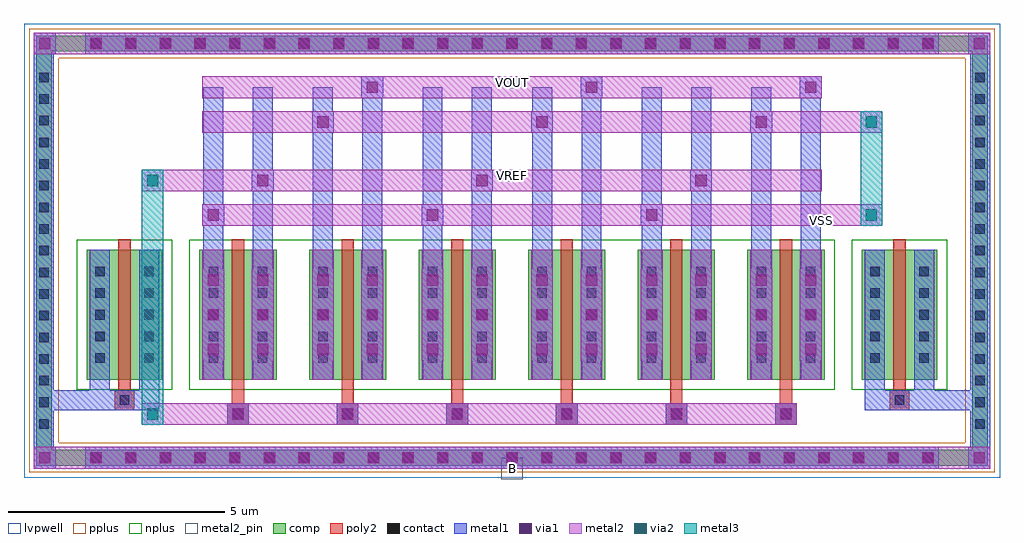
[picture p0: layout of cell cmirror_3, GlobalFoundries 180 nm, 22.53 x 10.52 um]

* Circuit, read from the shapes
.subckt cmirror_3 B VOUT VREF VSS
XM1 B B B B nfet_03v3 w=3u l=0.28u m=2
XM2 VREF VREF VSS B nfet_03v3 w=3u l=0.28u m=3
XM3 VOUT VREF VSS B nfet_03v3 w=3u l=0.28u m=3
.ends

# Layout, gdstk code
import gdstk
lib = gdstk.Library(unit=1e-6, precision=5e-09)
def R(c, l, rs):  # rectangles x0, y0, x1, y1
    for r in rs: c.add(gdstk.rectangle(r[:2], r[2:], *l))
def A(c, l, x, y, w, h, nx, ny, dx, dy):  # array of equal rectangles
    R(c, l, [(x+i*dx, y+j*dy, x+i*dx+w, y+j*dy+h) for i in range(nx) for j in range(ny)])
def P(c, l, *ps):  # polygons
    for p in ps: c.add(gdstk.Polygon(p, *l))
comp = (22, 0)
poly2 = (30, 0)
pplus = (31, 0)
nplus = (32, 0)
contact = (33, 0)
metal1 = (34, 0)
via1 = (35, 0)
metal2 = (36, 0)
metal2_pin = (36, 10)
via2 = (38, 0)
metal3 = (42, 0)
lvpwell = (204, 0)

cmirror_3 = lib.new_cell('cmirror_3')
A(cmirror_3, comp, -9.78, -4.96, 0.36, 0.36, 25, 2, 0.8, 9.56)
A(cmirror_3, comp, -10.985, -4.18, 0.36, 0.36, 1, 17, 0, 0.5)
A(cmirror_3, comp, 10.625, -4.18, 0.36, 0.36, 1, 17, 0, 0.5)
A(cmirror_3, comp, -7.215, -2.98, 1.78, 3, 6, 1, 2.53, 0)
R(cmirror_3, comp, [(-9.78,-4.96,9.78,-4.6), (-10.985,-4.18,-10.625,4.18), (10.625,-4.18,10.985,4.18), (-9.815,-2.98,-8.075,0.02), (8.075,-2.98,9.815,0.02), (-9.78,4.6,9.78,4.96)])
P(cmirror_3, comp, [(10.985,4.96),(-10.985,4.96),(-10.985,-4.6),(-10.625,-4.6),(-10.625,4.6),(10.625,4.6),(10.625,-4.6),(-10.625,-4.6),(-10.985,-4.6),(-10.985,-4.96),(10.985,-4.96)])
A(cmirror_3, poly2, -6.575, -4.02, 0.5, 0.5, 6, 1, 2.53, 0)
A(cmirror_3, poly2, -6.505, -3.95, 0.36, 0.36, 6, 1, 2.53, 0)
A(cmirror_3, poly2, -6.465, -3.52, 0.28, 0.3, 6, 1, 2.53, 0)
A(cmirror_3, poly2, -6.465, -3.22, 0.28, 3.48, 6, 1, 2.53, 0)
R(cmirror_3, poly2, [(-9.175,-3.68,-8.715,-3.22), (8.715,-3.68,9.175,-3.22), (-9.125,-3.63,-8.765,-3.27), (8.765,-3.63,9.125,-3.27), (-9.085,-3.22,-8.805,0.26), (8.805,-3.22,9.085,0.26)])
P(cmirror_3, pplus, [(11.145,5.12),(-11.145,5.12),(-11.145,-4.44),(-10.465,-4.44),(-10.465,4.44),(10.465,4.44),(10.465,-4.44),(-10.465,-4.44),(-11.145,-4.44),(-11.145,-5.12),(11.145,-5.12)])
A(cmirror_3, nplus, -7.445, -3.21, 2.24, 3.46, 6, 1, 2.53, 0)
R(cmirror_3, nplus, [(-10.045,-3.21,-7.845,0.25), (-7.445,-3.21,7.445,0.25), (7.845,-3.21,10.045,0.25)])
A(cmirror_3, contact, -9.71, -4.89, 0.22, 0.22, 25, 2, 0.8, 9.56)
A(cmirror_3, contact, -10.915, -4.11, 0.22, 0.22, 1, 17, 0, 0.5)
A(cmirror_3, contact, 10.695, -4.11, 0.22, 0.22, 1, 17, 0, 0.5)
A(cmirror_3, contact, -6.435, -3.88, 0.22, 0.22, 6, 1, 2.53, 0)
A(cmirror_3, contact, -9.625, -2.59, 0.22, 0.22, 1, 5, 0, 0.5)
A(cmirror_3, contact, -8.485, -2.59, 0.22, 0.22, 1, 5, 0, 0.5)
A(cmirror_3, contact, -7.005, -2.59, 0.22, 0.22, 1, 5, 0, 0.5)
A(cmirror_3, contact, -5.865, -2.59, 0.22, 0.22, 1, 5, 0, 0.5)
A(cmirror_3, contact, -4.475, -2.59, 0.22, 0.22, 1, 5, 0, 0.5)
A(cmirror_3, contact, -3.335, -2.59, 0.22, 0.22, 1, 5, 0, 0.5)
A(cmirror_3, contact, -1.945, -2.59, 0.22, 0.22, 1, 5, 0, 0.5)
A(cmirror_3, contact, -0.805, -2.59, 0.22, 0.22, 1, 5, 0, 0.5)
A(cmirror_3, contact, 0.585, -2.59, 0.22, 0.22, 1, 5, 0, 0.5)
A(cmirror_3, contact, 1.725, -2.59, 0.22, 0.22, 1, 5, 0, 0.5)
A(cmirror_3, contact, 3.115, -2.59, 0.22, 0.22, 1, 5, 0, 0.5)
A(cmirror_3, contact, 4.255, -2.59, 0.22, 0.22, 1, 5, 0, 0.5)
A(cmirror_3, contact, 5.645, -2.59, 0.22, 0.22, 1, 5, 0, 0.5)
A(cmirror_3, contact, 6.785, -2.59, 0.22, 0.22, 1, 5, 0, 0.5)
A(cmirror_3, contact, 8.265, -2.59, 0.22, 0.22, 1, 5, 0, 0.5)
A(cmirror_3, contact, 9.405, -2.59, 0.22, 0.22, 1, 5, 0, 0.5)
R(cmirror_3, contact, [(-9.055,-3.56,-8.835,-3.34), (8.835,-3.56,9.055,-3.34)])
A(cmirror_3, metal1, -9.85, -5.03, 0.5, 0.5, 25, 2, 0.8, 9.56)
A(cmirror_3, metal1, -11.035, -4.23, 0.46, 0.46, 1, 17, 0, 0.5)
A(cmirror_3, metal1, 10.575, -4.23, 0.46, 0.46, 1, 17, 0, 0.5)
A(cmirror_3, metal1, -6.575, -4.02, 0.5, 0.5, 6, 1, 2.53, 0)
A(cmirror_3, metal1, -9.745, -2.71, 0.46, 0.46, 1, 5, 0, 0.5)
A(cmirror_3, metal1, -8.605, -2.71, 0.46, 0.46, 1, 5, 0, 0.5)
A(cmirror_3, metal1, -7.125, -2.71, 0.46, 0.46, 1, 5, 0, 0.5)
A(cmirror_3, metal1, -5.985, -2.71, 0.46, 0.46, 1, 5, 0, 0.5)
A(cmirror_3, metal1, -4.595, -2.71, 0.46, 0.46, 1, 5, 0, 0.5)
A(cmirror_3, metal1, -3.455, -2.71, 0.46, 0.46, 1, 5, 0, 0.5)
A(cmirror_3, metal1, -2.065, -2.71, 0.46, 0.46, 1, 5, 0, 0.5)
A(cmirror_3, metal1, -0.925, -2.71, 0.46, 0.46, 1, 5, 0, 0.5)
A(cmirror_3, metal1, 0.465, -2.71, 0.46, 0.46, 1, 5, 0, 0.5)
A(cmirror_3, metal1, 1.605, -2.71, 0.46, 0.46, 1, 5, 0, 0.5)
A(cmirror_3, metal1, 2.995, -2.71, 0.46, 0.46, 1, 5, 0, 0.5)
A(cmirror_3, metal1, 4.135, -2.71, 0.46, 0.46, 1, 5, 0, 0.5)
A(cmirror_3, metal1, 5.525, -2.71, 0.46, 0.46, 1, 5, 0, 0.5)
A(cmirror_3, metal1, 6.665, -2.71, 0.46, 0.46, 1, 5, 0, 0.5)
A(cmirror_3, metal1, 8.145, -2.71, 0.46, 0.46, 1, 5, 0, 0.5)
A(cmirror_3, metal1, 9.285, -2.71, 0.46, 0.46, 1, 5, 0, 0.5)
A(cmirror_3, metal1, -7.145, -2.53, 0.5, 0.5, 1, 3, 0, 0.8)
A(cmirror_3, metal1, -6.005, -2.53, 0.5, 0.5, 1, 3, 0, 0.8)
A(cmirror_3, metal1, -4.615, -2.53, 0.5, 0.5, 1, 3, 0, 0.8)
A(cmirror_3, metal1, -3.475, -2.53, 0.5, 0.5, 1, 3, 0, 0.8)
A(cmirror_3, metal1, -2.085, -2.53, 0.5, 0.5, 1, 3, 0, 0.8)
A(cmirror_3, metal1, -0.945, -2.53, 0.5, 0.5, 1, 3, 0, 0.8)
A(cmirror_3, metal1, 0.445, -2.53, 0.5, 0.5, 1, 3, 0, 0.8)
A(cmirror_3, metal1, 1.585, -2.53, 0.5, 0.5, 1, 3, 0, 0.8)
A(cmirror_3, metal1, 2.975, -2.53, 0.5, 0.5, 1, 3, 0, 0.8)
A(cmirror_3, metal1, 4.115, -2.53, 0.5, 0.5, 1, 3, 0, 0.8)
A(cmirror_3, metal1, 5.505, -2.53, 0.5, 0.5, 1, 3, 0, 0.8)
A(cmirror_3, metal1, 6.645, -2.53, 0.5, 0.5, 1, 3, 0, 0.8)
A(cmirror_3, metal1, -7.125, 0.02, 0.46, 1.05, 3, 1, 5.06, 0)
A(cmirror_3, metal1, -5.985, 0.02, 0.46, 1.85, 3, 1, 5.06, 0)
A(cmirror_3, metal1, -4.595, 0.02, 0.46, 3.2, 3, 1, 5.06, 0)
A(cmirror_3, metal1, -3.455, 0.02, 0.46, 4, 3, 1, 5.06, 0)
A(cmirror_3, metal1, -7.145, 0.57, 0.5, 0.5, 3, 1, 5.06, 0)
A(cmirror_3, metal1, -6.005, 1.37, 0.5, 0.5, 3, 1, 5.06, 0)
A(cmirror_3, metal1, -4.615, 2.72, 0.5, 0.5, 3, 1, 5.06, 0)
A(cmirror_3, metal1, -3.475, 3.52, 0.5, 0.5, 3, 1, 5.06, 0)
R(cmirror_3, metal1, [(-11.035,-5.03,-10.535,-4.53), (-11.035,-5.03,-10.535,-4.53), (-11.035,-5.03,-10.575,-4.6), (-9.85,-5.03,9.85,-4.53), (10.535,-5.03,11.035,-4.53), (10.535,-5.03,11.035,-4.53), (10.575,-5.03,11.035,-4.6), (-11.035,-4.6,-10.575,4.6), (10.575,-4.6,11.035,4.6), (-11.035,-3.68,-9.175,-3.22), (-9.745,-3.68,-9.175,-3.22), (-9.745,-3.68,-9.285,-2.98), (-9.175,-3.68,-8.715,-3.22), (-8.715,-3.68,-8.145,-3.22), (-8.605,-3.68,-8.145,-2.98), (8.145,-3.68,8.715,-3.22), (8.145,-3.68,8.605,-2.98), (8.715,-3.68,9.175,-3.22), (9.175,-3.68,9.745,-3.22), (9.175,-3.68,11.035,-3.22), (9.285,-3.68,9.745,-2.98), (-9.745,-2.98,-9.285,0.02), (-8.605,-2.98,-8.145,0.02), (-7.125,-2.98,-6.665,0.02), (-5.985,-2.98,-5.525,0.02), (-4.595,-2.98,-4.135,0.02), (-3.455,-2.98,-2.995,0.02), (-2.065,-2.98,-1.605,0.02), (-0.925,-2.98,-0.465,0.02), (0.465,-2.98,0.925,0.02), (1.605,-2.98,2.065,0.02), (2.995,-2.98,3.455,0.02), (4.135,-2.98,4.595,0.02), (5.525,-2.98,5.985,0.02), (6.665,-2.98,7.125,0.02), (8.145,-2.98,8.605,0.02), (9.285,-2.98,9.745,0.02), (-7.145,-2.53,-6.645,-0.43), (-6.005,-2.53,-5.505,-0.43), (-4.615,-2.53,-4.115,-0.43), (-3.475,-2.53,-2.975,-0.43), (-2.085,-2.53,-1.585,-0.43), (-0.945,-2.53,-0.445,-0.43), (0.445,-2.53,0.945,-0.43), (1.585,-2.53,2.085,-0.43), (2.975,-2.53,3.475,-0.43), (4.115,-2.53,4.615,-0.43), (5.505,-2.53,6.005,-0.43), (6.645,-2.53,7.145,-0.43), (-7.125,0.02,-6.665,3.77), (-5.985,0.02,-5.525,3.77), (-4.595,0.02,-4.135,3.77), (-3.455,0.02,-2.995,3.77), (-2.065,0.02,-1.605,3.77), (-0.925,0.02,-0.465,3.77), (0.465,0.02,0.925,3.77), (1.605,0.02,2.065,3.77), (2.995,0.02,3.455,3.77), (4.135,0.02,4.595,3.77), (5.525,0.02,5.985,3.77), (6.665,0.02,7.125,3.77), (-11.035,4.53,-10.535,5.03), (-11.035,4.53,-10.535,5.03), (-9.85,4.53,9.85,5.03), (10.535,4.53,11.035,5.03), (10.535,4.53,11.035,5.03), (-11.035,4.6,-10.575,5.03), (10.575,4.6,11.035,5.03)])
A(cmirror_3, via1, -9.73, -4.91, 0.26, 0.26, 25, 2, 0.8, 9.56)
A(cmirror_3, via1, -6.455, -3.9, 0.26, 0.26, 6, 1, 2.53, 0)
A(cmirror_3, via1, -7.025, -2.41, 0.26, 0.26, 1, 3, 0, 0.8)
A(cmirror_3, via1, -5.885, -2.41, 0.26, 0.26, 1, 3, 0, 0.8)
A(cmirror_3, via1, -4.495, -2.41, 0.26, 0.26, 1, 3, 0, 0.8)
A(cmirror_3, via1, -3.355, -2.41, 0.26, 0.26, 1, 3, 0, 0.8)
A(cmirror_3, via1, -1.965, -2.41, 0.26, 0.26, 1, 3, 0, 0.8)
A(cmirror_3, via1, -0.825, -2.41, 0.26, 0.26, 1, 3, 0, 0.8)
A(cmirror_3, via1, 0.565, -2.41, 0.26, 0.26, 1, 3, 0, 0.8)
A(cmirror_3, via1, 1.705, -2.41, 0.26, 0.26, 1, 3, 0, 0.8)
A(cmirror_3, via1, 3.095, -2.41, 0.26, 0.26, 1, 3, 0, 0.8)
A(cmirror_3, via1, 4.235, -2.41, 0.26, 0.26, 1, 3, 0, 0.8)
A(cmirror_3, via1, 5.625, -2.41, 0.26, 0.26, 1, 3, 0, 0.8)
A(cmirror_3, via1, 6.765, -2.41, 0.26, 0.26, 1, 3, 0, 0.8)
A(cmirror_3, via1, -7.025, 0.69, 0.26, 0.26, 3, 1, 5.06, 0)
A(cmirror_3, via1, -5.885, 1.49, 0.26, 0.26, 3, 1, 5.06, 0)
A(cmirror_3, via1, -4.495, 2.84, 0.26, 0.26, 3, 1, 5.06, 0)
A(cmirror_3, via1, -3.355, 3.64, 0.26, 0.26, 3, 1, 5.06, 0)
R(cmirror_3, via1, [(-10.915,-4.91,-10.655,-4.65), (10.655,-4.91,10.915,-4.65), (-10.915,4.65,-10.655,4.91), (10.655,4.65,10.915,4.91)])
A(cmirror_3, metal2, -9.85, -5.03, 0.5, 0.5, 25, 2, 0.8, 9.56)
A(cmirror_3, metal2, -7.145, -2.53, 0.5, 0.5, 1, 3, 0, 0.8)
A(cmirror_3, metal2, -6.005, -2.53, 0.5, 0.5, 1, 3, 0, 0.8)
A(cmirror_3, metal2, -4.615, -2.53, 0.5, 0.5, 1, 3, 0, 0.8)
A(cmirror_3, metal2, -3.475, -2.53, 0.5, 0.5, 1, 3, 0, 0.8)
A(cmirror_3, metal2, -2.085, -2.53, 0.5, 0.5, 1, 3, 0, 0.8)
A(cmirror_3, metal2, -0.945, -2.53, 0.5, 0.5, 1, 3, 0, 0.8)
A(cmirror_3, metal2, 0.445, -2.53, 0.5, 0.5, 1, 3, 0, 0.8)
A(cmirror_3, metal2, 1.585, -2.53, 0.5, 0.5, 1, 3, 0, 0.8)
A(cmirror_3, metal2, 2.975, -2.53, 0.5, 0.5, 1, 3, 0, 0.8)
A(cmirror_3, metal2, 4.115, -2.53, 0.5, 0.5, 1, 3, 0, 0.8)
A(cmirror_3, metal2, 5.505, -2.53, 0.5, 0.5, 1, 3, 0, 0.8)
A(cmirror_3, metal2, 6.645, -2.53, 0.5, 0.5, 1, 3, 0, 0.8)
A(cmirror_3, metal2, -7.145, 0.57, 0.5, 0.5, 3, 1, 5.06, 0)
A(cmirror_3, metal2, -7.145, 0.57, 1.64, 0.5, 3, 2, 5.06, 0.8)
A(cmirror_3, metal2, -6.005, 1.37, 0.5, 0.5, 3, 1, 5.06, 0)
A(cmirror_3, metal2, -4.615, 2.72, 0.5, 0.5, 3, 1, 5.06, 0)
A(cmirror_3, metal2, -4.615, 2.72, 1.64, 0.5, 3, 2, 5.06, 0.8)
A(cmirror_3, metal2, -3.475, 3.52, 0.5, 0.5, 3, 1, 5.06, 0)
R(cmirror_3, metal2, [(-11.035,-5.03,-10.535,-4.53), (-11.035,-5.03,-10.535,-4.53), (-11.035,-5.03,-10.625,-4.53), (-10.625,-5.03,10.625,-4.53), (10.535,-5.03,11.035,-4.53), (10.535,-5.03,11.035,-4.53), (10.625,-5.03,11.035,-4.53), (-8.545,-4.02,-8.045,-3.52), (-8.545,-4.02,-6.575,-3.52), (-6.575,-4.02,-6.075,-3.52), (-6.575,-4.02,-6.075,-3.52), (-6.575,-4.02,6.575,-3.52), (-4.045,-4.02,-3.545,-3.52), (-4.045,-4.02,-3.545,-3.52), (-1.515,-4.02,-1.015,-3.52), (-1.515,-4.02,-1.015,-3.52), (1.015,-4.02,1.515,-3.52), (1.015,-4.02,1.515,-3.52), (3.545,-4.02,4.045,-3.52), (3.545,-4.02,4.045,-3.52), (6.075,-4.02,6.575,-3.52), (6.075,-4.02,6.575,-3.52), (-7.145,-2.98,-6.645,0.02), (-6.005,-2.98,-5.505,0.02), (-4.615,-2.98,-4.115,0.02), (-3.475,-2.98,-2.975,0.02), (-2.085,-2.98,-1.585,0.02), (-0.945,-2.98,-0.445,0.02), (0.445,-2.98,0.945,0.02), (1.585,-2.98,2.085,0.02), (2.975,-2.98,3.475,0.02), (4.115,-2.98,4.615,0.02), (5.505,-2.98,6.005,0.02), (6.645,-2.98,7.145,0.02), (-7.145,0.57,7.145,1.07), (7.145,0.57,8.545,1.07), (8.045,0.57,8.545,1.07), (-8.545,1.37,-8.045,1.87), (-8.545,1.37,-7.145,1.87), (-7.145,1.37,7.145,1.87), (-7.145,2.72,7.145,3.22), (7.145,2.72,8.545,3.22), (8.045,2.72,8.545,3.22), (-7.145,3.52,7.145,4.02), (-11.035,4.53,-10.535,5.03), (-11.035,4.53,-10.535,5.03), (-11.035,4.53,-10.625,5.03), (-10.625,4.53,10.625,5.03), (10.535,4.53,11.035,5.03), (10.535,4.53,11.035,5.03), (10.625,4.53,11.035,5.03)])
R(cmirror_3, metal2_pin, [(-0.25,-5.28,0.25,-4.78), (7.01,0.57,7.28,0.84), (-0.135,1.6,0.135,1.87), (-0.135,3.75,0.135,4.02)])
R(cmirror_3, via2, [(-8.425,-3.9,-8.165,-3.64), (8.165,0.69,8.425,0.95), (-8.425,1.49,-8.165,1.75), (8.165,2.84,8.425,3.1)])
R(cmirror_3, metal3, [(-8.545,-4.02,-8.045,-3.52), (-8.545,-4.02,-8.045,-3.52), (-8.545,-4.02,-8.045,1.87), (8.045,0.57,8.545,1.07), (8.045,0.57,8.545,1.07), (8.045,0.57,8.545,3.22), (-8.545,1.37,-8.045,1.87), (-8.545,1.37,-8.045,1.87), (8.045,2.72,8.545,3.22), (8.045,2.72,8.545,3.22)])
P(cmirror_3, metal3, [(8.545,0.57),(8.545,0.57),(8.545,1.07),(8.545,1.07)],
  [(8.545,2.72),(8.545,2.72),(8.545,3.22),(8.545,3.22)],
  [(-8.045,-4.02),(-8.045,-4.02),(-8.045,-3.52),(-8.045,-3.52)],
  [(-8.045,1.37),(-8.045,1.37),(-8.045,1.87),(-8.045,1.87)])
R(cmirror_3, lvpwell, [(-11.265,-5.24,11.265,5.24), (-10.165,-4.14,10.165,4.14)])
cmirror_3.add(gdstk.Label('B', (0,-5.03), layer=36, texttype=10))
cmirror_3.add(gdstk.Label('VOUT', (0,3.885), layer=36, texttype=10))
cmirror_3.add(gdstk.Label('VREF', (0,1.735), layer=36, texttype=10))
cmirror_3.add(gdstk.Label('VSS', (7.145,0.705), layer=36, texttype=10))

lib.write_gds('cmirror_3.gds')
